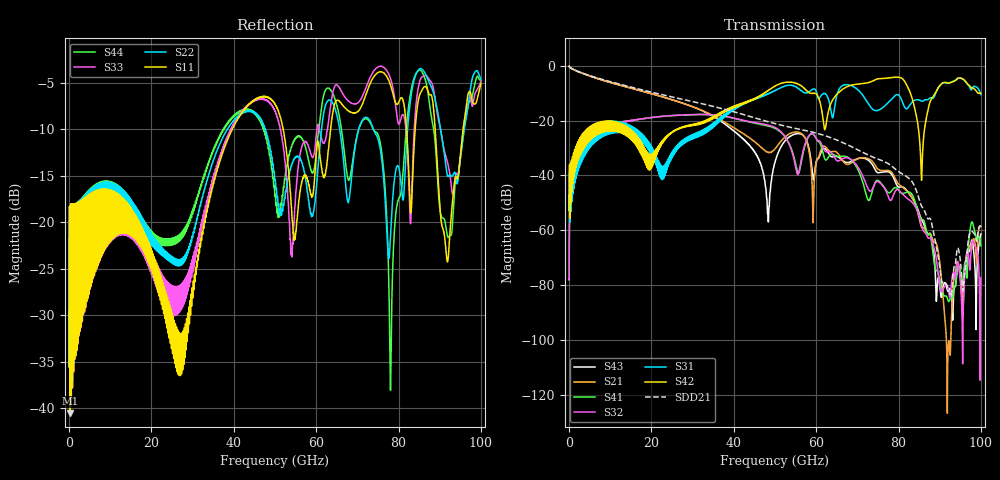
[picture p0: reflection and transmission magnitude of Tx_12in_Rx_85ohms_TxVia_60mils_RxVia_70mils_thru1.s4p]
! Info: Touchstone file created by Circ.  Input file=Tx_12in_Rx_85ohms_TxVia_60mils_RxVia_70mils.circ
# Hz S RI R 50
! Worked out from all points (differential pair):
!   10000 points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, 10 MHz to 100 GHz, reference 50 ohm
!   strongest paths, dB at 10 MHz, 25.01 GHz, 50.01 GHz, 75.01 GHz, 100 GHz:
!     S42: -52.7, -24.0, -7.4, -4.7, -10.0
!     S31: -52.8, -31.4, -9.0, -16.3, -10.5
!     S32: -77.6, -18.2, -22.5, -42.2, -77.2
!     S41: -77.6, -18.2, -22.8, -41.8, -65.6
!     S21: -0.1, -12.4, -30.3, -37.7, -58.6
!     S43: -0.1, -12.4, -35.0, -39.0, -61.3
!   taken as a pair (ports 1,3 in; 2,4 out), SDD21 dB: -0.1, -11.4, -21.1, -34.0, -58.5
!   lowest |S11| = -40.5 dB at 260 MHz (marker M1), VSWR 1.02, Z = 49.3 + j0.563 ohm
!   |S11| at or under -10 dB: start of sweep to 39.61 GHz; 51.99 GHz to 63.51 GHz (11.52 GHz wide, 20 % of centre); 88.91 GHz to 95.7 GHz (6.794 GHz wide, 7.36 % of centre)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
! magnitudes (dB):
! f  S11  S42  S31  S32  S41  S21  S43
! 10 MHz  -35.5  -52.7  -52.8  -77.6  -77.6  -0.1  -0.1
! 260 MHz  -40.5  -44.4  -44.5  -46.6  -46.6  -0.6  -0.6
! 37.67 GHz  -12.0  -16.3  -17.8  -18.4  -18.4  -20.4  -21.1
! 78.06 GHz  -5.2  -4.3  -12.6  -49.1  -46.1  -38.5  -39.1
! 85.57 GHz  -5.9  -41.6  -12.9  -58.2  -55.9  -58.8  -56.0
! 91.05 GHz  -21.1  -6.1  -6.1  -80.8  -83.8  -88.6  -79.4
! 100 GHz  -5.1  -10.0  -10.5  -77.2  -65.6  -58.6  -61.3
